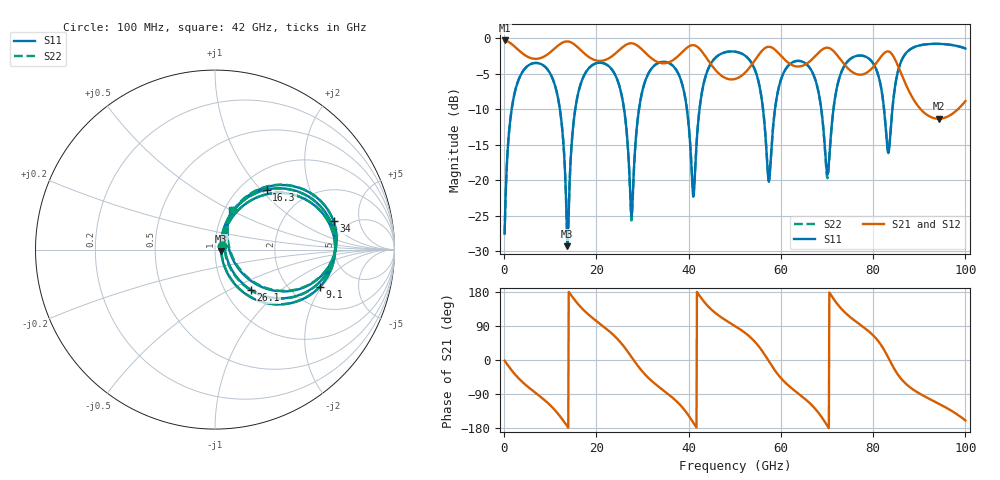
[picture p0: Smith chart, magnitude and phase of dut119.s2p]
! Touchstone file exported from HFSS 2026.1.0
!  File:  C:/ffzhzh/LocalFiles/Ansys_Project_Files/temp_train_TSV_RDL_119_1783458708_28540.aedt
!  Generated:  05:27:43 AM Jul  8, 2026
!  Design:  TSV_RDL
!  Project:  temp_train_TSV_RDL_119_1783458708_28540
! Variables:
!  h_bsmrdl = 4.84um
!  h_ox = 20um
!  h_rdl = 5um
!  h_sub = 80.62um
!  h_tmrdl = 2.21um
!  h_tsv = 80.62um
!  h_via = 3um
!  l_bsmrdl = 377.78um
!  l_sub = 4213.7um
!  l_tmrdl = 650.89um
!  m_sub = 200um
!  pitch = 56.61um
!  r_tsv = 8.7um
!  s_tmrdl = 10um
!  w_bsmrdl = 10.95um
!  w_sub = 500um
!  w_tmrdl = 14.65um
!  x_tsv_center1 = 658.215um
!  x_tsv_center2 = 1046.945um
!  x_tsv_center3 = 1712.485um
!  x_tsv_center4 = 2101.215um
!  x_tsv_center5 = 2766.755um
!  x_tsv_center6 = 3155.485um
# GHz S MA R 50.000000
! Terminal data exported
! Port[1] = TM_RDL1_1_T1
! Port[2] = TM_RDL5_1_T1
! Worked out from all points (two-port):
!   1000 points, 100 MHz to 100 GHz, reference 50 ohm
!   highest |S21| = -0.32 dB at 100 MHz (marker M1); lowest = -11.3 dB at 94.2 GHz (marker M2)
!   |S21| within 3 dB of the highest: start of sweep to 33.14 GHz; 35.98 GHz to 44.45 GHz (8.467 GHz wide, 21.1 % of centre) (the widest 2 of 5)
!   lowest |S11| = -29.3 dB at 13.7 GHz (marker M3), VSWR 1.07, Z = 53.5 - j0.736 ohm
!   |S11| at or under -10 dB: 12.09 GHz to 15.41 GHz (3.326 GHz wide, 24.2 % of centre); 26 GHz to 29.23 GHz (3.226 GHz wide, 11.7 % of centre); 39.63 GHz to 42.36 GHz (2.729 GHz wide, 6.66 % of centre) (the widest 3 of 7)
!   |S22| runs from -29.0 to -0.8 dB; largest |S21 - S12| = 1.2e-13
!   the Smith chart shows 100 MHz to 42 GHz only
!   S11 on the Smith chart (normalised r, x): 100 MHz: 1.08, +0.04; 9.1 GHz: 2.83, -1.92; 16.3 GHz: 1.30, +1.08; 26.1 GHz: 1.32, -0.65; 34 GHz: 3.84, +2.25; 42 GHz: 1.08, +0.51
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0.1  0.04216 29.2  0.9636 -1.8  0.9636 -1.8  0.04216 29.2
! Gamma 0 0 0 0
! Port Impedance 50 0 50 0
2.7  0.4643 42.8  0.8484 -42.6  0.8484 -42.6  0.4643 42.8
9.1  0.6188 -19.8  0.7571 -109.4  0.7571 -109.4  0.6188 -19.7
13.7  0.03441 -11.5  0.9487 -175.0  0.9487 -175.0  0.03566 -10.8
16.3  0.4418 49.2  0.8424 143.8  0.8424 143.8  0.442 49.0
16.8  0.4979 43.3  0.8132 137.1  0.8132 137.1  0.498 43.1
26.1  0.3006 -48.2  0.8846 33.4  0.8846 33.4  0.3002 -48.8
27.7  0.0579 21.9  0.9206 6.4  0.9206 6.4  0.05457 22.7
33.4  0.669 18.6  0.6767 -69.6  0.6767 -69.6  0.6688 18.9
34  0.6792 13.4  0.6681 -75.3  0.6681 -75.3  0.679 13.7
38.9  0.4339 -32.4  0.8153 -128.9  0.8153 -128.9  0.4341 -31.9
40.9  0.08225 -6.9  0.8933 -163.2  0.8933 -163.2  0.08581 -5.6
42  0.2422 67.1  0.8638 176.2  0.8638 176.2  0.2437 66.3
50.1  0.8032 -0.6  0.5167 89.2  0.5167 89.2  0.8034 -0.6
57.4  0.09755 -1.8  0.8699 -3.5  0.8699 -3.5  0.1009 -2.0
60.5  0.562 29.9  0.7231 -54.1  0.7231 -54.1  0.5623 29.5
66.7  0.5857 -24.1  0.7072 -119.1  0.7072 -119.1  0.5853 -24.6
70.1  0.1095 5.7  0.8568 -174.1  0.8568 -174.1  0.1033 5.7
73.7  0.6335 31.2  0.6569 127.7  0.6569 127.7  0.633 31.7
83.4  0.159 13.5  0.8048 3.6  0.8048 3.6  0.1642 13.3
94.2  0.9117 -25.4  0.2711 -115.1  0.2711 -115.1  0.9119 -25.4
100  0.8462 -66.1  0.3608 -159.5  0.3608 -159.5  0.8467 -65.9
